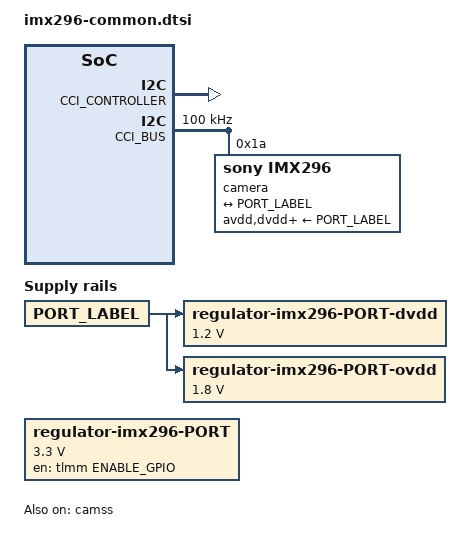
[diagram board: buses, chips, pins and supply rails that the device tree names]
// SPDX-License-Identifier: BSD-3-Clause
// Based on the Q6A camera overlays, Copyright (c) 2025 Radxa Computer (Shenzhen) Co., Ltd.
// Keep labels, node names and regulator names distinct for every connector.
#define JOIN_IMPL(a, b) a ## b
#define JOIN(a, b) JOIN_IMPL(a, b)
#define STRING_IMPL(value) #value
#define STRING(value) STRING_IMPL(value)
#define PORT_LABEL(name) JOIN(JOIN(PORT, _imx296_), name)

/ {
	metadata {
		title = PORT_TITLE;
		compatible = "radxa,dragon-q6a";
		category = "camera";
		exclusive = STRING(CCI_BUS);
		description = "Single-lane monochrome RAW10.";
	};
};

&{/} {
	/* Module oscillator, as described by the Pi imx296 overlay. No SoC MCLK. */
	PORT_LABEL(clk): clock-imx296-PORT {
		compatible = "fixed-clock";
		#clock-cells = <0>;
		clock-frequency = <54000000>;
	};

	/* The selected port drives CAM_IO0 (camera pin 11), which enables the module's local supplies. */
	PORT_LABEL(power): regulator-imx296-PORT {
		compatible = "regulator-fixed";
		regulator-name = STRING(imx296-PORT-3v3);
		regulator-min-microvolt = <3300000>;
		regulator-max-microvolt = <3300000>;
		gpio = <&tlmm ENABLE_GPIO 0>; /* GPIO_ACTIVE_HIGH */
		enable-active-high;
		startup-delay-us = <500000>;
		pinctrl-names = "default";
		pinctrl-0 = <&PORT_LABEL(enable_pin)>;
	};

	PORT_LABEL(dvdd): regulator-imx296-PORT-dvdd {
		compatible = "regulator-fixed";
		regulator-name = STRING(imx296-PORT-1v2);
		regulator-min-microvolt = <1200000>;
		regulator-max-microvolt = <1200000>;
		vin-supply = <&PORT_LABEL(power)>;
	};

	PORT_LABEL(ovdd): regulator-imx296-PORT-ovdd {
		compatible = "regulator-fixed";
		regulator-name = STRING(imx296-PORT-1v8);
		regulator-min-microvolt = <1800000>;
		regulator-max-microvolt = <1800000>;
		vin-supply = <&PORT_LABEL(power)>;
	};
};

&tlmm {
	PORT_LABEL(enable_pin): imx296-PORT-enable-state {
		pins = STRING(JOIN(gpio, ENABLE_GPIO));
		function = "gpio";
		drive-strength = <2>;
		bias-pull-up;
	};
};

&CCI_CONTROLLER {
	status = "okay";
};

&CCI_BUS {
	#address-cells = <1>;
	#size-cells = <0>;
	clock-frequency = <100000>;
	status = "okay";

	camera@1a {
		compatible = "sony,imx296";
		reg = <0x1a>;
		clocks = <&PORT_LABEL(clk)>;
		clock-names = "inck";
		avdd-supply = <&PORT_LABEL(power)>;
		dvdd-supply = <&PORT_LABEL(dvdd)>;
		ovdd-supply = <&PORT_LABEL(ovdd)>;

		port {
			PORT_LABEL(out): endpoint {
				clock-lanes = <0>;
				data-lanes = <1>;
				clock-noncontinuous;
				link-frequencies = /bits/ 64 <594000000>;
				remote-endpoint = <&PORT_LABEL(input)>;
			};
		};
	};
};

&camss {
	vdda-phy-supply = <&vreg_l10c_0p88>;
	vdda-pll-supply = <&vreg_l6b_1p2>;
	status = "okay";

	ports {
		#address-cells = <1>;
		#size-cells = <0>;

		port@PHY {
			reg = <PHY>;

			PORT_LABEL(input): endpoint {
				/* Qualcomm D-PHY clock and first data lane. */
				clock-lanes = <7>;
				data-lanes = <0>;
				clock-noncontinuous;
				remote-endpoint = <&PORT_LABEL(out)>;
			};
		};
	};
};
